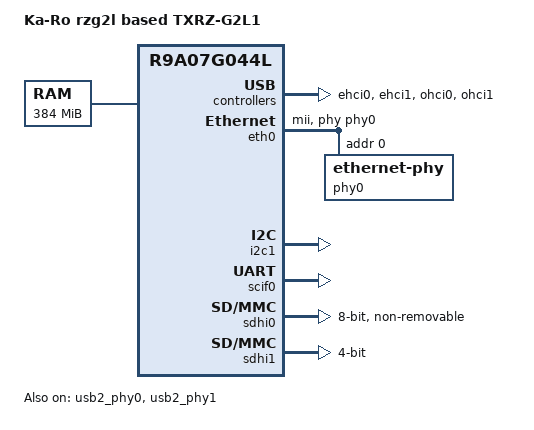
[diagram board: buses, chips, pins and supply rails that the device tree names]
// SPDX-License-Identifier: (GPL-2.0 OR MIT)
/*
 * Device Tree Source for the Ka-Ro G2L based TXRZ-G2L1 CoM
 *
 * Copyright (C) 2022 Markus Bauer <mb@karo-electronics.com>
 */

/dts-v1/;

#include <dt-bindings/gpio/gpio.h>
#include <dt-bindings/pinctrl/rzg2l-pinctrl.h>
#include "r9a07g044l.dtsi"

/ {
	model = "Ka-Ro rzg2l based TXRZ-G2L1";
	compatible = "renesas,r9a07g044l", "renesas,rzg2l";

	aliases {
		serial0 = &scif0;
		usb-host = &ehci1;
		usbotg = &ehci0;
	};

	chosen {
		stdout-path = "serial0:115200n8";
	};

	memory@48000000 {
		device_type = "memory";
		/* first 128MB is reserved for secure area. */
		reg = <0 0x48000000 0 0x18000000>;
	};
};

&ehci0 {
	pinctrl-names = "default";
	pinctrl-0 = <&ehci0_pins>;
	status = "okay";
};

&ehci1 {
	pinctrl-names = "default";
	pinctrl-0 = <&ehci1_pins>;
	status = "okay";
};

&eth0 {
	pinctrl-names = "default";
	pinctrl-0 = <&eth0_pins>;
	status = "okay";

	phy-handle = <&phy0>;
	phy-mode = "mii";
	phy0: ethernet-phy@0 {
		reg = <0>;
	};
};

&i2c1 {
	pinctrl-names = "default";
	pinctrl-0 = <&i2c1_pins>;
	status = "okay";
};

&ohci0 {
	status = "okay";
};

&ohci1 {
	status = "okay";
};

&scif0 {
	status = "okay";
	clock = <100000000>;
};

&sdhi0 {
	bus-width = <8>;
	non-removable;
	status = "okay";
};

&sdhi1 {
	bus-width = <4>;
	status = "okay";
};

&usb2_phy0 {
	status = "okay";
};

&usb2_phy1 {
	status = "okay";
};

&xinclk {
        clock-frequency = <24000000>;
};

&pinctrl {
	ehci0_pins: ehci0grp {
		pinmux = <
			  RZG2L_PINMUX(4, 0, 1)
			  RZG2L_PINMUX(5, 0, 1)
			  RZG2L_PINMUX(5, 1, 1)
		>;
	};

	ehci1_pins: ehci1grp {
		pinmux = <
			  RZG2L_PINMUX(42, 0, 1)
			  RZG2L_PINMUX(42, 1, 1)
		>;
	};

	eth0_pins: eth0grp {
		pinmux = <
			  RZG2L_PINMUX(20, 0, 1)
			  RZG2L_PINMUX(20, 1, 1)
			  RZG2L_PINMUX(20, 2, 1)
			  RZG2L_PINMUX(21, 0, 1)
			  RZG2L_PINMUX(21, 1, 1)
			  RZG2L_PINMUX(22, 0, 1)
			  RZG2L_PINMUX(22, 1, 1)
			  RZG2L_PINMUX(23, 0, 1)
			  RZG2L_PINMUX(23, 1, 1)
			  RZG2L_PINMUX(24, 0, 1)
			  RZG2L_PINMUX(24, 1, 1)
			  RZG2L_PINMUX(25, 0, 1)
			  RZG2L_PINMUX(25, 1, 1)
			  RZG2L_PINMUX(26, 0, 1)
			  RZG2L_PINMUX(26, 1, 1)
			  RZG2L_PINMUX(27, 0, 1)
			  RZG2L_PINMUX(27, 1, 1)
			  RZG2L_PINMUX(28, 0, 1)
			  RZG2L_PINMUX(28, 1, 1)
		>;
	};

	i2c1_pins: i2c1grp {
		pinmux = <
			  RZG2L_PINMUX(14, 2, 1)
			  RZG2L_PINMUX(14, 3, 1)
		>;
	};
};
